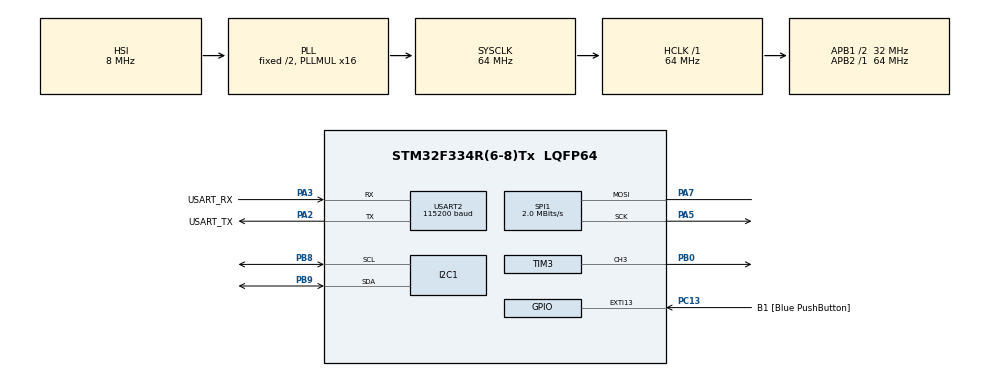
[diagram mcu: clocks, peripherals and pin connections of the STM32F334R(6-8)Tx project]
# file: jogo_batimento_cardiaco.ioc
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I2C1.I2C_Rise_Time=0
I2C1.Timing=0x00101D2B
Mcu.Family=STM32F3
Mcu.Name=STM32F334R(6-8)Tx
Mcu.Package=LQFP64
NVIC.PriorityGroup=NVIC_PRIORITYGROUP_0
NVIC.TIM1_UP_TIM16_IRQn=true\:0\:0\:false\:false\:true\:true\:true\:true
PA13.GPIO_Label=TMS
PA13.Mode=Serial_Wire
PA13.Signal=SYS_JTMS-SWDIO
PA14.GPIO_Label=TCK
PA14.Mode=Serial_Wire
PA14.Signal=SYS_JTCK-SWCLK
PA2.GPIO_Label=USART_TX
PA2.Mode=Asynchronous
PA2.Signal=USART2_TX
PA3.GPIO_Label=USART_RX
PA3.Mode=Asynchronous
PA3.Signal=USART2_RX
PA5.Mode=Simplex_Bidirectional_Master
PA5.Signal=SPI1_SCK
PA7.Mode=Simplex_Bidirectional_Master
PA7.Signal=SPI1_MOSI
PB0.Signal=S_TIM3_CH3
PB3.GPIO_Label=SWO
PB3.Signal=SYS_JTDO-TRACESWO
PB8.Mode=I2C
PB8.Signal=I2C1_SCL
PB9.Mode=I2C
PB9.Signal=I2C1_SDA
PC13.GPIO_Label=B1 [Blue PushButton]
PC13.GPIO_ModeDefaultEXTI=GPIO_MODE_IT_FALLING
PC13.Signal=GPXTI13
PC14\ /\ OSC32_IN.Mode=LSE-External-Oscillator
PC14\ /\ OSC32_IN.Signal=RCC_OSC32_IN
PC15\ /\ OSC32_OUT.GPIO_Label=RCC_OSC32_OUT
PC15\ /\ OSC32_OUT.Mode=LSE-External-Oscillator
PC15\ /\ OSC32_OUT.Signal=RCC_OSC32_OUT
PC7.Signal=S_TIM3_CH2
PF0\ /\ OSC_IN.Mode=HSE-External-Clock-Source
PF0\ /\ OSC_IN.Signal=RCC_OSC_IN
PF1\ /\ OSC_OUT.Signal=RCC_OSC_OUT
ProjectManager.HeapSize=0x200
ProjectManager.StackSize=0x400
ProjectManager.TargetToolchain=CMake
RCC.AHBFreq_Value=64000000
RCC.APB1CLKDivider=RCC_HCLK_DIV2
RCC.APB1Freq_Value=32000000
RCC.APB1TimFreq_Value=64000000
RCC.APB2Freq_Value=64000000
RCC.APB2TimFreq_Value=64000000
RCC.CortexFreq_Value=64000000
RCC.FLatency-AdvancedSettings=FLASH_LATENCY_2
RCC.HCLKFreq_Value=64000000
RCC.HSE_VALUE=8000000
RCC.HSI_VALUE=8000000
RCC.PLLMUL=RCC_PLL_MUL16
RCC.SYSCLKFreq_VALUE=64000000
RCC.SYSCLKSourceVirtual=RCC_SYSCLKSOURCE_PLLCLK
SH.S_TIM3_CH2.0=TIM3_CH2
SH.S_TIM3_CH3.0=TIM3_CH3,PWM Generation3 CH3
SPI1.BaudRatePrescaler=SPI_BAUDRATEPRESCALER_32
SPI1.CalculateBaudRate=2.0 MBits/s
SPI1.Direction=SPI_DIRECTION_1LINE
SPI1.Mode=SPI_MODE_MASTER
SPI1.VirtualType=VM_MASTER
TIM1.Period=99
TIM1.Prescaler=6399
TIM3.AutoReloadPreload=TIM_AUTORELOAD_PRELOAD_ENABLE
TIM3.Channel-PWM\ Generation3\ CH3=TIM_CHANNEL_3
TIM3.Period=999
TIM3.Prescaler=1279
TIM3.Pulse-PWM\ Generation3\ CH3=0
USART2.BaudRate=115200
USART2.VirtualMode-Asynchronous=VM_ASYNC
VP_TIM1_VS_ClockSourceINT.Mode=Internal
VP_TIM3_VS_ClockSourceINT.Mode=Internal
board=NUCLEO-F334R8

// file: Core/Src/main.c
/* USER CODE BEGIN Header */
/**
  ******************************************************************************
  * @file           : main.c
  * @brief          : Main program body
  ******************************************************************************
  * @attention
  *
  * Copyright (c) 2026 STMicroelectronics.
  * All rights reserved.
  *
  * This software is licensed under terms that can be found in the LICENSE file
  * in the root directory of this software component.
  * If no LICENSE file comes with this software, it is provided AS-IS.
  *
  ******************************************************************************
  */
/* USER CODE END Header */
#include "main.h"
#include "i2c.h"
#include "spi.h"
#include "stm32f3xx.h"
#include "stm32f3xx_hal.h"
#include "stm32f3xx_hal_gpio.h"
#include "stm32f3xx_hal_tim.h"
#include "tim.h"
#include "usart.h"
#include "gpio.h"

/* USER CODE BEGIN Includes */
#include "stdio.h"
#include <stdint.h>
#include "stdlib.h"
/* USER CODE END Includes */

/* USER CODE BEGIN PTD */
typedef struct{
  uint16_t buffer_IR[100];
  uint16_t buffer_LED[100];
  uint8_t index;
  uint8_t detected_pulse;
  uint32_t rolling_avg;

  uint16_t bpm;
  float spo2;

  uint32_t samples_between_readings;

} Player;

union myConfigMAX30100 {
  uint8_t reg;

  struct {
    uint8_t reserved : 8;
  };
};

enum states {
  AWAIT_INICIALIZATION = 0,
  RESET_INPUTS_AND_OUTPUTS,
  RUN_GAME,
  GAME_FINISHED
};

typedef struct {
  uint8_t RESET;
  uint8_t MINIMUM;
  uint8_t MAXIMUM;
  uint8_t current_position;
} ServoPositions;
/* USER CODE END PTD */

/* USER CODE BEGIN PV */
//Indica que a leitura do sensor está pronta
volatile uint8_t ready_to_read = 0;
volatile uint8_t timer_tick = 0;
volatile uint8_t servo_tick = 0;
uint8_t timer = 0;
uint8_t match_duration_seconds = 30;
uint8_t ticks_counter = 0;
uint8_t servo_ticks_counter = 0;

uint8_t button_last_state = GPIO_PIN_RESET;

uint8_t TIME_BETWEEN_READINGS = 10; //em ms
uint16_t threshold = 25000;
uint16_t aboveThreshold = 0;
Player player1;
Player player2;

ServoPositions servoPositions;
uint8_t degrees_per_move = 4;

enum states currentState = AWAIT_INICIALIZATION;

static uint8_t pulse_detected = 0;
/* USER CODE END PV */

void SystemClock_Config(void);
/* USER CODE BEGIN PFP */
void Select_I2C_Channel(uint8_t channel);
HAL_StatusTypeDef MAX30100_Write(uint8_t reg, uint8_t data);
void MAX30100_Read();
void add_reading(Player *player);
/* USER CODE END PFP */

/* USER CODE BEGIN 0 */

uint8_t tx_buffer[100];

// Função para selecionar canal I2C do multiplexador I2C
void Select_I2C_Channel(uint8_t channel){
  uint8_t data = 1 << channel;
  HAL_I2C_Master_Transmit(&hi2c1, (0x70 << 1), &data, 1, 100);
}

// Função para escrever nos registradores do sensor MAX30100
HAL_StatusTypeDef MAX30100_Write(uint8_t reg, uint8_t data){
  return HAL_I2C_Mem_Write(&hi2c1, (0x57 << 1), reg, I2C_MEMADD_SIZE_8BIT, &data, 1, 100);
}

void MAX30100_Init(){
  //if(MAX30100_Write(0x06, 0b01001011) != HAL_OK) return;
  MAX30100_Write(0x06, 0x40);
  HAL_Delay(10);
  if(MAX30100_Write(0x06, 0x03) != HAL_OK) return;
  if(MAX30100_Write(0x09, 0x77) != HAL_OK) return;
  if(MAX30100_Write(0x07, 0x07) != HAL_OK) return;
}

void read_BPM(Player *player){
  uint8_t buffer[4];
  //Lê valor do IR diretamente do registrador 0x05
  HAL_StatusTypeDef status = HAL_I2C_Mem_Read(&hi2c1, (0x57 << 1), 0x05, I2C_MEMADD_SIZE_8BIT, buffer, 4, 100);
  if(status != HAL_OK) {
    player->bpm = 0;
    return; // Se falhar na leitura, sai da função
  }

  uint16_t ir_value = (buffer[0] << 8) | buffer[1];
  player->buffer_IR[player->index] = ir_value;

  if(ir_value < 15000){
    player->bpm = 0;
    return;
  }

  // Filtro passa baixa
  player->rolling_avg = (player->rolling_avg * 0.95) + (ir_value * 0.05);

  if (ir_value < (player->rolling_avg - 150) && !player->detected_pulse) {
      // Pulso detectado
      uint16_t bpm = 60000 / (player->samples_between_readings * TIME_BETWEEN_READINGS);
      if(bpm > 35 && bpm < 120){
        player->bpm = bpm;
      }
      player->samples_between_readings = 0;
      player->detected_pulse = 1;
  }

  if (ir_value > player->rolling_avg) {
      player->detected_pulse = 0; // Reseta pro proximo batimento
  }

  player->samples_between_readings++;
  player->index = (player1.index + 1) % 100;
}

void read_BPM_from_players(){
  if(ready_to_read == 1){
    Select_I2C_Channel(0);
    read_BPM(&player1);
    Select_I2C_Channel(1);
    read_BPM(&player2);
    ready_to_read = 0;
  }
}

void initialize_sensors(){
  Select_I2C_Channel(0);
  MAX30100_Init();
  Select_I2C_Channel(1);
  MAX30100_Init();
}

void move_servo(uint8_t angle){
  if(angle > 179) angle = 179;

  uint32_t ccr_val = 50 + ((uint32_t)angle * 50 / 180);

  __HAL_TIM_SET_COMPARE(&htim3, TIM_CHANNEL_3, ccr_val);
}

void update_servo_position(uint16_t bpm1, uint16_t bpm2){
  if(servo_tick == 1){
    servo_ticks_counter++;
    servo_tick = 0;
  }
  if(servo_ticks_counter == 100){
    servo_ticks_counter = 0;

    if(bpm1 > bpm2){
      servoPositions.current_position += degrees_per_move;
    } else if(bpm1 < bpm2){
      servoPositions.current_position -= degrees_per_move;
    }
    if(servoPositions.current_position < servoPositions.MINIMUM)
      servoPositions.current_position = servoPositions.MINIMUM;
    if(servoPositions.current_position > servoPositions.MAXIMUM)
      servoPositions.current_position = servoPositions.MAXIMUM;

    int len = snprintf((char*)tx_buffer, sizeof(tx_buffer), "Player 1: %d\n", player1.bpm);
    HAL_UART_Transmit(&huart2, tx_buffer, len, 1000);
    len = snprintf((char*)tx_buffer, sizeof(tx_buffer), "Player 2: %d\n", player2.bpm);
    HAL_UART_Transmit(&huart2, tx_buffer, len, 1000);

    len = snprintf((char*)tx_buffer, sizeof(tx_buffer), "SERVO UPDATE\n");
    HAL_UART_Transmit(&huart2, tx_buffer, len, 1000);

    move_servo(servoPositions.current_position);
  }
}

void servo_display_winner(){
  //Se todos forem 0, o lado esquerdo ganha
  if(servoPositions.current_position >= 90){
    servoPositions.current_position = servoPositions.MAXIMUM;
  } else {
    servoPositions.current_position = servoPositions.MINIMUM;
  }
  move_servo(servoPositions.current_position);
}

void reset_servo(){
  move_servo(servoPositions.RESET);
  servoPositions.current_position = servoPositions.RESET;
}

void set_timer(uint8_t match_duration_seconds){
  timer = match_duration_seconds;
}

void update_timer(){
  if(timer_tick == 1){
    ticks_counter++;
    timer_tick = 0;
  }
  if(ticks_counter >= 100){
    timer--;
    ticks_counter = 0;
  }
}

uint8_t is_match_finished(){
  if(timer == 0){
    return 1;
  }
  return 0;
}

//Verifica a cada 10ms se a leitura está pronta
void HAL_TIM_PeriodElapsedCallback(TIM_HandleTypeDef *htim) {
    if (htim->Instance == TIM1) {
        ready_to_read = 1;
        timer_tick = 1;
        servo_tick = 1;
    }
}

/* USER CODE END 0 */

int main(void)
{

  /* MCU Configuration--------------------------------------------------------*/

  /* Reset of all peripherals, Initializes the Flash interface and the Systick. */
  HAL_Init();

  /* Configure the system clock */
  SystemClock_Config();

  /* Initialize all configured peripherals */
  MX_GPIO_Init();
  MX_USART2_UART_Init();
  MX_I2C1_Init();
  MX_SPI1_Init();
  MX_TIM1_Init();
  MX_TIM3_Init();
  /* USER CODE BEGIN 2 */

  // Inicializa estruturas dos jogadores
  player1.index = 0;
  player1.bpm = 0.0f;
  player1.spo2 = 0.0f;
  player1.samples_between_readings = 0;
  player1.detected_pulse = 0;
  player1.rolling_avg = 0;

  player2.index = 0;
  player2.bpm = 0.0f;
  player2.spo2 = 0.0f;
  player2.samples_between_readings = 0;
  player2.detected_pulse = 0;
  player2.rolling_avg = 0;

  servoPositions.RESET = 89;
  servoPositions.MAXIMUM = 175;
  servoPositions.MINIMUM = 5;

  if(HAL_TIM_Base_Start_IT(&htim1) != HAL_OK) {
    Error_Handler();
  }

  if(HAL_TIM_PWM_Start(&htim3, TIM_CHANNEL_3) != HAL_OK){
    Error_Handler();
  }

  initialize_sensors();
  int len = 0;

  /* USER CODE END 2 */

  /* Infinite loop */
  /* USER CODE BEGIN WHILE */
  while (1)
  {
    switch (currentState) {
      case AWAIT_INICIALIZATION:
        //  Display in waiting screen
        //  Await button input
        if(HAL_GPIO_ReadPin(B1_GPIO_Port, B1_Pin) == 0){
          len = snprintf((char*)tx_buffer, sizeof(tx_buffer), "AWAIT\n");
          HAL_UART_Transmit(&huart2, tx_buffer, len, 1000);
          currentState = RESET_INPUTS_AND_OUTPUTS;
        }
        break;
      case RESET_INPUTS_AND_OUTPUTS:
        // Reset servo position
        reset_servo();
        // Wait to detect pulse
        // Display preparation and pulse detection
        // if(player1.has_detected_pulse == 1 && player1.has_detected_pulse == 1) setTimer(); state = RUN_GAME
        set_timer(match_duration_seconds);
        len = snprintf((char*)tx_buffer, sizeof(tx_buffer), "RESET\n");
        HAL_UART_Transmit(&huart2, tx_buffer, len, 1000);
        currentState = RUN_GAME;
        break;
      case RUN_GAME:
        // 1 - Update timer
        update_timer();
        // 2 - Read BPM from both players
        read_BPM_from_players();
        // 3 - Calculate points and position
        // 4 - Update display and servo
        //update_servo_position(player1.bpm, player2.bpm);
        update_servo_position(player1.bpm, player2.bpm);
        // Update display
        if(is_match_finished() == 1){
          currentState = GAME_FINISHED;
        }
        break;
      case GAME_FINISHED:
          servo_display_winner();
          if(HAL_GPIO_ReadPin(B1_GPIO_Port, B1_Pin) == 0){
            currentState = AWAIT_INICIALIZATION;
            HAL_Delay(100);
          }

        break;
    }

    /* USER CODE END WHILE */

  }
}

void SystemClock_Config(void)
{
  RCC_OscInitTypeDef RCC_OscInitStruct = {0};
  RCC_ClkInitTypeDef RCC_ClkInitStruct = {0};
  RCC_PeriphCLKInitTypeDef PeriphClkInit = {0};

  /** Initializes the RCC Oscillators according to the specified parameters
  * in the RCC_OscInitTypeDef structure.
  */
  RCC_OscInitStruct.OscillatorType = RCC_OSCILLATORTYPE_HSI;
  RCC_OscInitStruct.HSIState = RCC_HSI_ON;
  RCC_OscInitStruct.HSICalibrationValue = RCC_HSICALIBRATION_DEFAULT;
  RCC_OscInitStruct.PLL.PLLState = RCC_PLL_ON;
  RCC_OscInitStruct.PLL.PLLSource = RCC_PLLSOURCE_HSI;
  RCC_OscInitStruct.PLL.PLLMUL = RCC_PLL_MUL16;
  if (HAL_RCC_OscConfig(&RCC_OscInitStruct) != HAL_OK)
  {
    Error_Handler();
  }

  /** Initializes the CPU, AHB and APB buses clocks
  */
  RCC_ClkInitStruct.ClockType = RCC_CLOCKTYPE_HCLK|RCC_CLOCKTYPE_SYSCLK
                              |RCC_CLOCKTYPE_PCLK1|RCC_CLOCKTYPE_PCLK2;
  RCC_ClkInitStruct.SYSCLKSource = RCC_SYSCLKSOURCE_PLLCLK;
  RCC_ClkInitStruct.AHBCLKDivider = RCC_SYSCLK_DIV1;
  RCC_ClkInitStruct.APB1CLKDivider = RCC_HCLK_DIV2;
  RCC_ClkInitStruct.APB2CLKDivider = RCC_HCLK_DIV1;

  if (HAL_RCC_ClockConfig(&RCC_ClkInitStruct, FLASH_LATENCY_2) != HAL_OK)
  {
    Error_Handler();
  }
  PeriphClkInit.PeriphClockSelection = RCC_PERIPHCLK_I2C1|RCC_PERIPHCLK_TIM1;
  PeriphClkInit.I2c1ClockSelection = RCC_I2C1CLKSOURCE_HSI;
  PeriphClkInit.Tim1ClockSelection = RCC_TIM1CLK_HCLK;
  if (HAL_RCCEx_PeriphCLKConfig(&PeriphClkInit) != HAL_OK)
  {
    Error_Handler();
  }
}

void Error_Handler(void)
{
  __disable_irq();
  while (1)
  {
  }
}
